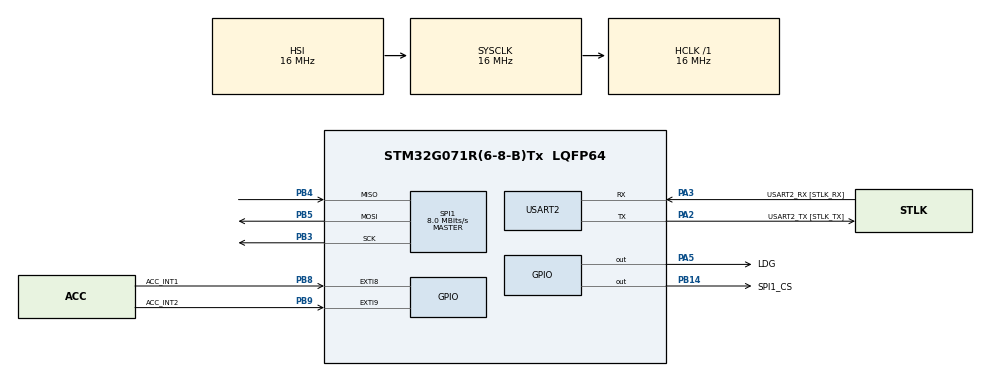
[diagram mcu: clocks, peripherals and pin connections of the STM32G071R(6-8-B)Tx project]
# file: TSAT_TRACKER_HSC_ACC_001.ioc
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Mcu.Family=STM32G0
Mcu.Name=STM32G071R(6-8-B)Tx
Mcu.Package=LQFP64
NVIC.EXTI4_15_IRQn=true\:1\:0\:true\:false\:true\:true\:true\:true
PA13.GPIO_Label=TMS
PA13.Mode=Serial_Wire
PA13.Signal=SYS_SWDIO
PA14-BOOT0.GPIO_Label=TCK
PA14-BOOT0.Mode=Serial_Wire
PA14-BOOT0.Signal=SYS_SWCLK
PA2.GPIO_Label=USART2_TX [STLK_TX]
PA2.GPIO_PuPd=GPIO_PULLUP
PA2.Mode=Asynchronous
PA2.Signal=USART2_TX
PA3.GPIO_Label=USART2_RX [STLK_RX]
PA3.GPIO_PuPd=GPIO_PULLUP
PA3.Mode=Asynchronous
PA3.Signal=USART2_RX
PA5.GPIO_Label=LDG
PA5.GPIO_Speed=GPIO_SPEED_FREQ_HIGH
PA5.Signal=GPIO_Output
PB14.GPIO_Label=SPI1_CS
PB14.Signal=GPIO_Output
PB3.Mode=Full_Duplex_Master
PB3.Signal=SPI1_SCK
PB4.Mode=Full_Duplex_Master
PB4.Signal=SPI1_MISO
PB5.Mode=Full_Duplex_Master
PB5.Signal=SPI1_MOSI
PB8.GPIO_Label=ACC_INT1
PB8.Signal=GPXTI8
PB9.GPIO_Label=ACC_INT2
PB9.Signal=GPXTI9
PC13.Mode=SYS_WakeUp1
PC13.Signal=SYS_WKUP2
PC14-OSC32_IN\ (PC14).Mode=LSE-External-Oscillator
PC14-OSC32_IN\ (PC14).Signal=RCC_OSC32_IN
PC15-OSC32_OUT\ (PC15).Mode=LSE-External-Oscillator
PC15-OSC32_OUT\ (PC15).Signal=RCC_OSC32_OUT
PF0-OSC_IN\ (PF0).GPIO_Label=MCO
PF0-OSC_IN\ (PF0).Mode=HSE-External-Clock-Source
PF0-OSC_IN\ (PF0).Signal=RCC_OSC_IN
ProjectManager.HeapSize=0x200
ProjectManager.StackSize=0x400
ProjectManager.TargetToolchain=STM32CubeIDE
RCC.AHBFreq_Value=16000000
RCC.CortexFreq_Value=16000000
RCC.EXTERNAL_CLOCK_VALUE=12288000
RCC.HCLKFreq_Value=16000000
RCC.HSE_VALUE=8000000
RCC.HSI_VALUE=16000000
RCC.RTCClockSelection=RCC_RTCCLKSOURCE_LSE
RCC.SYSCLKFreq_VALUE=16000000
RCC.VCOOutputFreq_Value=128000000
SPI1.CalculateBaudRate=8.0 MBits/s
SPI1.DataSize=SPI_DATASIZE_8BIT
SPI1.Direction=SPI_DIRECTION_2LINES
SPI1.Mode=SPI_MODE_MASTER
SPI1.VirtualType=VM_MASTER
USART2.VirtualMode-Asynchronous=VM_ASYNC
VP_RTC_VS_RTC_Activate.Mode=RTC_Enabled
board=NUCLEO-G071RB

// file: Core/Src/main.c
/* USER CODE BEGIN Header */
/**
  ******************************************************************************
  * @file           : main.c
  * @brief          : Main program body
  ******************************************************************************
  * @attention
  *
  * Copyright (c) 2023 STMicroelectronics.
  * All rights reserved.
  *
  * This software is licensed under terms that can be found in the LICENSE file
  * in the root directory of this software component.
  * If no LICENSE file comes with this software, it is provided AS-IS.
  *
  ******************************************************************************
  */
/* USER CODE END Header */
#include "main.h"

RTC_HandleTypeDef hrtc;

SPI_HandleTypeDef hspi1;

UART_HandleTypeDef huart2;

/* USER CODE BEGIN PV */
char*		hello = "\nHello TSAT_TRACKER_HSC_ACC_001\n\n" ;
stmdev_ctx_t my_lis2dw12_ctx ;
lis2dw12_all_sources_t all_source ;
//lis2dw12_reg_t int_route ;
/* USER CODE END PV */

void SystemClock_Config(void);
static void MX_GPIO_Init(void);
static void MX_USART2_UART_Init(void);
static void MX_RTC_Init(void);
static void MX_SPI1_Init(void);

int main(void)
{

  /* MCU Configuration--------------------------------------------------------*/

  /* Reset of all peripherals, Initializes the Flash interface and the Systick. */
  HAL_Init();

  /* Configure the system clock */
  SystemClock_Config();

  /* Initialize all configured peripherals */
  MX_GPIO_Init();
  MX_USART2_UART_Init();
  MX_RTC_Init();
  MX_SPI1_Init();
  /* USER CODE BEGIN 2 */
  HAL_UART_Transmit ( HUART_DBG , (uint8_t*) hello , strlen ( hello ) , UART_TIMEOUT ) ;
  send_2_dbg ( (uint8_t*) hello ) ;

  my_lis2dw12_ctx.write_reg = my_lis2dw12_platform_write ;
  my_lis2dw12_ctx.read_reg = my_lis2dw12_platform_read ;
  my_lis2dw12_ctx.handle = HSPI1 ;

  //Restore default configuration
  my_lis2dw12_init ( &my_lis2dw12_ctx ) ;
  /*
  lis2dw12_reset_set ( &my_lis2dw12_ctx , PROPERTY_ENABLE ) ;
  do {
	  lis2dw12_reset_get ( &my_lis2dw12_ctx, &rst ) ;
  } while ( rst ) ;
  uint8_t acc_id = 0 ;
  lis2dw12_device_id_get ( &my_lis2dw12_ctx , &acc_id ) ;
  if ( acc_id == LIS2DW12_ID )
  {
	  lis2dw12_full_scale_set 		( &my_lis2dw12_ctx , LIS2DW12_2g ) ;
	  lis2dw12_power_mode_set 		( &my_lis2dw12_ctx , LIS2DW12_CONT_LOW_PWR_LOW_NOISE_12bit ) ;
	  lis2dw12_data_rate_set 		( &my_lis2dw12_ctx , LIS2DW12_XL_ODR_200Hz ) ;
	  lis2dw12_filter_path_set 		( &my_lis2dw12_ctx , LIS2DW12_HIGH_PASS_ON_OUT ) ;
	  lis2dw12_wkup_dur_set			( &my_lis2dw12_ctx , 0 ) ;
	  lis2dw12_wkup_threshold_set	( &my_lis2dw12_ctx, 2 ) ;
	  lis2dw12_pin_int1_route_get	( &my_lis2dw12_ctx, &int_route.ctrl4_int1_pad_ctrl ) ;
	  int_route.ctrl4_int1_pad_ctrl.int1_wu = PROPERTY_ENABLE ;
	  lis2dw12_pin_int1_route_set	( &my_lis2dw12_ctx , &int_route.ctrl4_int1_pad_ctrl ) ;
  }
*/
  /* USER CODE END 2 */

  /* Infinite loop */
  /* USER CODE BEGIN WHILE */
  uint8_t tx_buffer[1000] = {0} ;
  while (1)
  {
	  if (all_source.wake_up_src.wu_ia)
	  {
		  sprintf((char *)tx_buffer, "Wake-Up event on ");
		  if (all_source.wake_up_src.x_wu)
		  {
			  strcat((char *)tx_buffer, "X");
		  }
		  if (all_source.wake_up_src.y_wu)
		  {
			  strcat((char *)tx_buffer, "Y");
		  }
		  if (all_source.wake_up_src.z_wu)
		  {
			  strcat((char *)tx_buffer, "Z");
		  }
		  strcat((char *)tx_buffer, " direction\r\n");
		  HAL_UART_Transmit(&huart2, tx_buffer, strlen((char const *)tx_buffer) , 1000 ) ;
	  }
    /* USER CODE END WHILE */

  }
}

void SystemClock_Config(void)
{
  RCC_OscInitTypeDef RCC_OscInitStruct = {0};
  RCC_ClkInitTypeDef RCC_ClkInitStruct = {0};

  /** Configure the main internal regulator output voltage
  */
  HAL_PWREx_ControlVoltageScaling(PWR_REGULATOR_VOLTAGE_SCALE1);

  /** Configure LSE Drive Capability
  */
  HAL_PWR_EnableBkUpAccess();
  __HAL_RCC_LSEDRIVE_CONFIG(RCC_LSEDRIVE_LOW);

  /** Initializes the RCC Oscillators according to the specified parameters
  * in the RCC_OscInitTypeDef structure.
  */
  RCC_OscInitStruct.OscillatorType = RCC_OSCILLATORTYPE_HSI|RCC_OSCILLATORTYPE_LSE;
  RCC_OscInitStruct.LSEState = RCC_LSE_ON;
  RCC_OscInitStruct.HSIState = RCC_HSI_ON;
  RCC_OscInitStruct.HSIDiv = RCC_HSI_DIV1;
  RCC_OscInitStruct.HSICalibrationValue = RCC_HSICALIBRATION_DEFAULT;
  RCC_OscInitStruct.PLL.PLLState = RCC_PLL_NONE;
  if (HAL_RCC_OscConfig(&RCC_OscInitStruct) != HAL_OK)
  {
    Error_Handler();
  }

  /** Initializes the CPU, AHB and APB buses clocks
  */
  RCC_ClkInitStruct.ClockType = RCC_CLOCKTYPE_HCLK|RCC_CLOCKTYPE_SYSCLK
                              |RCC_CLOCKTYPE_PCLK1;
  RCC_ClkInitStruct.SYSCLKSource = RCC_SYSCLKSOURCE_HSI;
  RCC_ClkInitStruct.AHBCLKDivider = RCC_SYSCLK_DIV1;
  RCC_ClkInitStruct.APB1CLKDivider = RCC_HCLK_DIV1;

  if (HAL_RCC_ClockConfig(&RCC_ClkInitStruct, FLASH_LATENCY_0) != HAL_OK)
  {
    Error_Handler();
  }
}

static void MX_RTC_Init(void)
{

  /** Initialize RTC Only
  */
  hrtc.Instance = RTC;
  hrtc.Init.HourFormat = RTC_HOURFORMAT_24;
  hrtc.Init.AsynchPrediv = 127;
  hrtc.Init.SynchPrediv = 255;
  hrtc.Init.OutPut = RTC_OUTPUT_DISABLE;
  hrtc.Init.OutPutRemap = RTC_OUTPUT_REMAP_NONE;
  hrtc.Init.OutPutPolarity = RTC_OUTPUT_POLARITY_HIGH;
  hrtc.Init.OutPutType = RTC_OUTPUT_TYPE_OPENDRAIN;
  hrtc.Init.OutPutPullUp = RTC_OUTPUT_PULLUP_NONE;
  if (HAL_RTC_Init(&hrtc) != HAL_OK)
  {
    Error_Handler();
  }

}

static void MX_SPI1_Init(void)
{

  /* SPI1 parameter configuration*/
  hspi1.Instance = SPI1;
  hspi1.Init.Mode = SPI_MODE_MASTER;
  hspi1.Init.Direction = SPI_DIRECTION_2LINES;
  hspi1.Init.DataSize = SPI_DATASIZE_8BIT;
  hspi1.Init.CLKPolarity = SPI_POLARITY_LOW;
  hspi1.Init.CLKPhase = SPI_PHASE_1EDGE;
  hspi1.Init.NSS = SPI_NSS_SOFT;
  hspi1.Init.BaudRatePrescaler = SPI_BAUDRATEPRESCALER_2;
  hspi1.Init.FirstBit = SPI_FIRSTBIT_MSB;
  hspi1.Init.TIMode = SPI_TIMODE_DISABLE;
  hspi1.Init.CRCCalculation = SPI_CRCCALCULATION_DISABLE;
  hspi1.Init.CRCPolynomial = 7;
  hspi1.Init.CRCLength = SPI_CRC_LENGTH_DATASIZE;
  hspi1.Init.NSSPMode = SPI_NSS_PULSE_ENABLE;
  if (HAL_SPI_Init(&hspi1) != HAL_OK)
  {
    Error_Handler();
  }

}

static void MX_USART2_UART_Init(void)
{

  huart2.Instance = USART2;
  huart2.Init.BaudRate = 115200;
  huart2.Init.WordLength = UART_WORDLENGTH_8B;
  huart2.Init.StopBits = UART_STOPBITS_1;
  huart2.Init.Parity = UART_PARITY_NONE;
  huart2.Init.Mode = UART_MODE_TX_RX;
  huart2.Init.HwFlowCtl = UART_HWCONTROL_NONE;
  huart2.Init.OverSampling = UART_OVERSAMPLING_16;
  huart2.Init.OneBitSampling = UART_ONE_BIT_SAMPLE_DISABLE;
  huart2.Init.ClockPrescaler = UART_PRESCALER_DIV1;
  huart2.AdvancedInit.AdvFeatureInit = UART_ADVFEATURE_NO_INIT;
  if (HAL_UART_Init(&huart2) != HAL_OK)
  {
    Error_Handler();
  }
  if (HAL_UARTEx_SetTxFifoThreshold(&huart2, UART_TXFIFO_THRESHOLD_1_8) != HAL_OK)
  {
    Error_Handler();
  }
  if (HAL_UARTEx_SetRxFifoThreshold(&huart2, UART_RXFIFO_THRESHOLD_1_8) != HAL_OK)
  {
    Error_Handler();
  }
  if (HAL_UARTEx_DisableFifoMode(&huart2) != HAL_OK)
  {
    Error_Handler();
  }

}

static void MX_GPIO_Init(void)
{
  GPIO_InitTypeDef GPIO_InitStruct = {0};

  /* GPIO Ports Clock Enable */
  __HAL_RCC_GPIOC_CLK_ENABLE();
  __HAL_RCC_GPIOF_CLK_ENABLE();
  __HAL_RCC_GPIOA_CLK_ENABLE();
  __HAL_RCC_GPIOB_CLK_ENABLE();

  /*Configure GPIO pin Output Level */
  HAL_GPIO_WritePin(LDG_GPIO_Port, LDG_Pin, GPIO_PIN_RESET);

  /*Configure GPIO pin Output Level */
  HAL_GPIO_WritePin(SPI1_CS_GPIO_Port, SPI1_CS_Pin, GPIO_PIN_RESET);

  /*Configure GPIO pin : LDG_Pin */
  GPIO_InitStruct.Pin = LDG_Pin;
  GPIO_InitStruct.Mode = GPIO_MODE_OUTPUT_PP;
  GPIO_InitStruct.Pull = GPIO_NOPULL;
  GPIO_InitStruct.Speed = GPIO_SPEED_FREQ_HIGH;
  HAL_GPIO_Init(LDG_GPIO_Port, &GPIO_InitStruct);

  /*Configure GPIO pin : SPI1_CS_Pin */
  GPIO_InitStruct.Pin = SPI1_CS_Pin;
  GPIO_InitStruct.Mode = GPIO_MODE_OUTPUT_PP;
  GPIO_InitStruct.Pull = GPIO_NOPULL;
  GPIO_InitStruct.Speed = GPIO_SPEED_FREQ_LOW;
  HAL_GPIO_Init(SPI1_CS_GPIO_Port, &GPIO_InitStruct);

  /*Configure GPIO pins : ACC_INT1_Pin ACC_INT2_Pin */
  GPIO_InitStruct.Pin = ACC_INT1_Pin|ACC_INT2_Pin;
  GPIO_InitStruct.Mode = GPIO_MODE_IT_RISING;
  GPIO_InitStruct.Pull = GPIO_NOPULL;
  HAL_GPIO_Init(GPIOB, &GPIO_InitStruct);

  /* EXTI interrupt init*/
  HAL_NVIC_SetPriority(EXTI4_15_IRQn, 1, 0);
  HAL_NVIC_EnableIRQ(EXTI4_15_IRQn);

}

/* USER CODE BEGIN 4 */
int32_t my_lis2dw12_platform_write ( void *handle , uint8_t reg , const uint8_t *bufp , uint16_t len )
{
	HAL_GPIO_WritePin	( SPI1_CS_GPIO_Port , SPI1_CS_Pin , GPIO_PIN_RESET ) ;
	HAL_Delay ( 20 ) ;
	HAL_SPI_Transmit	( handle , &reg , 1 , 1000 ) ;
	HAL_SPI_Transmit	( handle , (uint8_t*) bufp , len , 1000 ) ;
	HAL_GPIO_WritePin	( SPI1_CS_GPIO_Port , SPI1_CS_Pin , GPIO_PIN_SET) ;

	return 0;
}
int32_t my_lis2dw12_platform_read ( void *handle , uint8_t reg , uint8_t *bufp , uint16_t len )
{
	reg |= 0x80;
	HAL_GPIO_WritePin ( SPI1_CS_GPIO_Port , SPI1_CS_Pin , GPIO_PIN_RESET) ;
	HAL_Delay ( 20 ) ;
	HAL_SPI_Transmit ( handle , &reg , 1 , 1000 ) ;
	HAL_SPI_Receive ( handle , bufp , len , 1000 ) ;
	HAL_GPIO_WritePin ( SPI1_CS_GPIO_Port , SPI1_CS_Pin , GPIO_PIN_SET) ;

	return 0;
}
void send_2_dbg ( uint8_t* buff )
{
	HAL_UART_Transmit ( HUART_DBG , buff , strlen ( (char*) buff ) , UART_TIMEOUT ) ;
}
void HAL_GPIO_EXTI_Rising_Callback ( uint16_t GPIO_Pin )
{
	send_2_dbg ( (uint8_t*) GPIO_Pin ) ;
}
/* USER CODE END 4 */

void Error_Handler(void)
{
  __disable_irq();
  while (1)
  {
  }
}
